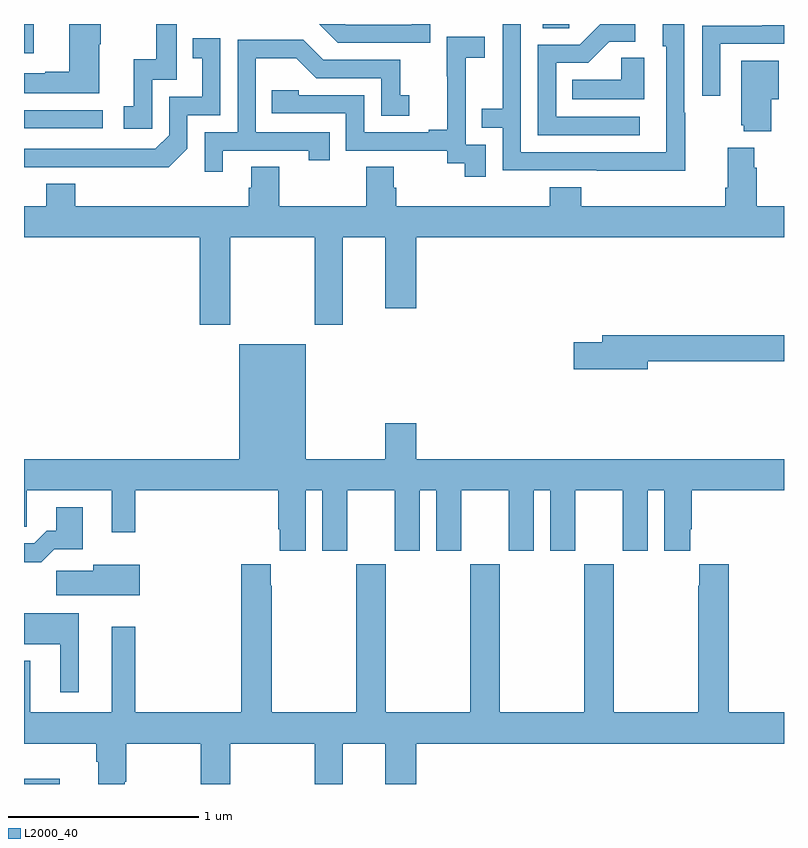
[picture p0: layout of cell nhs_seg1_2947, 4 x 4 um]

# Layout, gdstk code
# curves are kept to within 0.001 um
import gdstk
lib = gdstk.Library(unit=1e-6, precision=1e-09)
def R(c, l, rs):  # rectangles x0, y0, x1, y1
    for r in rs: c.add(gdstk.rectangle(r[:2], r[2:], *l))
def P(c, l, *ps):  # polygons
    for p in ps: c.add(gdstk.Polygon(p, *l))
L2000_40 = (2000, 40)

nhs_seg1_2947 = lib.new_cell('nhs_seg1_2947')
R(nhs_seg1_2947, L2000_40, [(271,538.199,271.187,538.226), (271,541.65,271.414,541.746), (271,542.046,271.051,542.199), (273.731,542.176,273.87,542.199)])
P(nhs_seg1_2947, L2000_40, [(271.674,541.905),(271.803,541.905),(271.803,542.199),(271.695,542.199),(271.695,542.014),(271.577,542.014),(271.577,541.767),(271.524,541.767),(271.524,541.647),(271.674,541.647)],
  [(271.396,542.093),(271.404,542.093),(271.404,542.199),(271.238,542.199),(271.238,541.949),(271.112,541.949),(271.112,541.939),(271,541.939),(271,541.835),(271.396,541.835)],
  [(274.24,541.71),(273.801,541.71),(273.801,541.995),(273.97,541.995),(274.081,542.106),(274.216,542.106),(274.216,542.199),(274.032,542.199),(273.924,542.091),(273.705,542.091),(273.705,541.614),(274.24,541.614)],
  [(274.479,541.733),(274.476,541.733),(274.476,542.199),(274.361,542.199),(274.361,542.082),(274.38,542.082),(274.38,541.524),(273.615,541.524),(273.615,542.199),(273.519,542.199),(273.519,541.754),(273.409,541.754),(273.409,541.653),(273.519,541.653),(273.519,541.428),(274.015,541.428),(274.015,541.427),(274.479,541.427)],
  [(273.138,542.199),(273.041,542.199),(273.041,542.196),(272.694,542.196),(272.691,542.199),(272.553,542.199),(272.652,542.1),(273.138,542.1)],
  [(274.665,542.094),(275,542.094),(275,542.192),(274.885,542.192),(274.885,542.19),(274.569,542.19),(274.569,541.821),(274.665,541.821)],
  [(273.429,541.563),(273.324,541.563),(273.324,541.793),(273.326,541.793),(273.326,542.021),(273.424,542.021),(273.424,542.131),(273.226,542.131),(273.226,541.925),(273.227,541.925),(273.227,541.642),(273.131,541.642),(273.131,541.629),(272.79,541.629),(272.79,541.824),(272.445,541.824),(272.445,541.851),(272.305,541.851),(272.305,541.728),(272.694,541.728),(272.694,541.533),(273.228,541.533),(273.228,541.465),(273.321,541.465),(273.321,541.395),(273.429,541.395)],
  [(271.86,541.542),(271.86,541.719),(272.034,541.719),(272.034,542.125),(271.888,542.125),(271.888,542.019),(271.937,542.019),(271.937,541.815),(271.764,541.815),(271.764,541.614),(271.692,541.542),(271,541.542),(271,541.446),(271.762,541.445)],
  [(272.047,541.533),(272.498,541.533),(272.498,541.482),(272.609,541.482),(272.609,541.629),(272.22,541.629),(272.22,542.018),(272.434,542.018),(272.538,541.914),(272.88,541.914),(272.88,541.716),(273.028,541.716),(273.028,541.825),(272.979,541.825),(272.979,542.01),(272.575,542.01),(272.47,542.115),(272.124,542.115),(272.124,541.629),(271.95,541.629),(271.95,541.422),(272.047,541.422)],
  [(274.264,542.021),(274.143,542.021),(274.143,541.906),(273.886,541.906),(273.886,541.802),(274.264,541.802)],
  [(274.933,541.802),(274.972,541.802),(274.972,542.005),(274.775,542.005),(274.775,541.665),(274.787,541.665),(274.787,541.634),(274.933,541.634)],
  [(272.085,541.076),(272.53,541.076),(272.53,540.615),(272.677,540.615),(272.677,541.076),(272.9,541.076),(272.9,540.702),(273.064,540.702),(273.064,541.076),(275,541.076),(275,541.24),(274.856,541.24),(274.856,541.442),(274.843,541.442),(274.843,541.549),(274.703,541.549),(274.703,541.336),(274.691,541.336),(274.691,541.24),(273.932,541.24),(273.932,541.339),(273.767,541.339),(273.767,541.24),(272.96,541.24),(272.96,541.338),(272.947,541.338),(272.947,541.448),(272.8,541.448),(272.8,541.24),(272.343,541.24),(272.343,541.448),(272.195,541.448),(272.195,541.338),(272.183,541.338),(272.183,541.24),(271.271,541.24),(271.271,541.357),(271.118,541.357),(271.118,541.24),(271,541.24),(271,541.076),(271.925,541.076),(271.925,540.615),(272.085,540.615)],
  [(274.282,540.424),(275,540.424),(275,540.56),(274.043,540.56),(274.043,540.524),(273.894,540.524),(273.894,540.382),(274.282,540.382)],
  [(272.482,539.744),(272.57,539.744),(272.57,539.427),(272.701,539.427),(272.701,539.744),(272.951,539.744),(272.951,539.427),(273.082,539.427),(273.082,539.744),(273.17,539.744),(273.17,539.427),(273.301,539.427),(273.301,539.744),(273.551,539.744),(273.551,539.427),(273.682,539.427),(273.682,539.744),(273.77,539.744),(273.77,539.427),(273.901,539.427),(273.901,539.744),(274.151,539.744),(274.151,539.427),(274.282,539.427),(274.282,539.744),(274.37,539.744),(274.37,539.427),(274.507,539.427),(274.507,539.539),(274.514,539.539),(274.514,539.744),(275,539.744),(275,539.908),(273.064,539.908),(273.064,540.097),(272.9,540.097),(272.9,539.908),(272.482,539.908),(272.482,540.514),(272.132,540.514),(272.132,539.908),(271,539.908),(271,539.554),(271.014,539.554),(271.014,539.744),(271.463,539.744),(271.463,539.523),(271.585,539.523),(271.585,539.744),(272.339,539.744),(272.339,539.539),(272.345,539.539),(272.345,539.427),(272.482,539.427)],
  [(271.16,539.435),(271.309,539.435),(271.309,539.656),(271.169,539.656),(271.169,539.533),(271.12,539.533),(271.053,539.466),(271,539.466),(271,539.366),(271.091,539.366)],
  [(271.531,538.21),(271.539,538.21),(271.539,538.412),(271.93,538.412),(271.93,538.199),(272.085,538.199),(272.085,538.412),(272.53,538.412),(272.53,538.199),(272.677,538.199),(272.677,538.412),(272.9,538.412),(272.9,538.199),(273.064,538.199),(273.064,538.412),(275,538.412),(275,538.576),(274.709,538.576),(274.709,539.356),(274.553,539.356),(274.553,539.243),(274.549,539.243),(274.549,538.576),(274.104,538.576),(274.104,539.356),(273.949,539.356),(273.949,538.576),(273.504,538.576),(273.504,539.356),(273.349,539.356),(273.349,538.576),(272.904,538.576),(272.904,539.356),(272.749,539.356),(272.749,538.576),(272.304,538.576),(272.304,539.243),(272.299,539.243),(272.299,539.356),(272.144,539.356),(272.144,538.576),(271.585,538.576),(271.585,539.026),(271.463,539.026),(271.463,538.576),(271.033,538.576),(271.033,538.849),(271,538.849),(271,538.412),(271.379,538.412),(271.379,538.316),(271.391,538.316),(271.391,538.199),(271.531,538.199)],
  [(271.609,539.353),(271.364,539.353),(271.364,539.321),(271.17,539.321),(271.17,539.192),(271.609,539.192)],
  [(271.288,539.098),(271,539.098),(271,538.934),(271.19,538.934),(271.19,538.683),(271.288,538.683)])

lib.write_gds('nhs_seg1_2947.gds')
